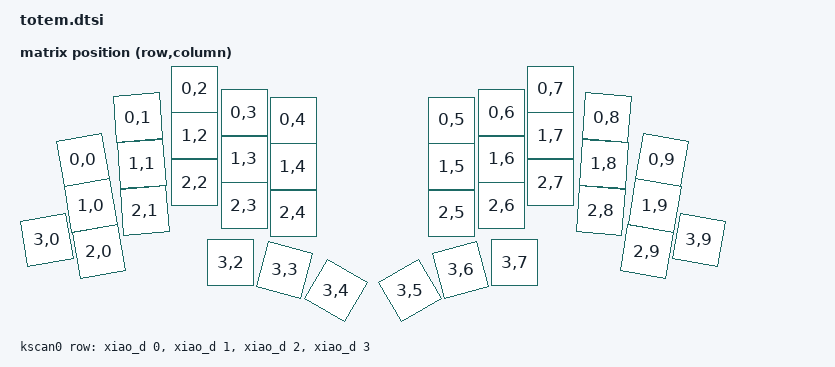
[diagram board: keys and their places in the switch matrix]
/*
 * Copyright (c) 2022 The ZMK Contributors
 *
 * SPDX-License-Identifier: MIT
 */

#include <dt-bindings/zmk/matrix_transform.h>
#include <physical_layouts.dtsi>

/ {
    chosen {
        zmk,kscan = &kscan0;
        zmk,physical-layout = &totem_physical_layout;
    };

    default_transform: keymap_transform_0 {
        compatible = "zmk,matrix-transform";
        columns = <10>;
        rows = <4>;
//             | SW01  | SW02  | SW03  | SW04  | SW05  |  | SW05  | SW04  | SW03  | SW02  | SW01  |
//             | SW06  | SW07  | SW08  | SW09  | SW10  |  | SW10  | SW09  | SW08  | SW07  | SW06  | 
//      | SW16 | SW11  | SW12  | SW13  | SW14  | SW15  |  | SW15  | SW14  | SW13  | SW12  | SW11  | SW16  |
//                             | SW17  | SW18  | SW19  |  | SW19  | SW18  | SW17  | 
        map = <
                RC(0,0) RC(0,1) RC(0,2) RC(0,3) RC(0,4)    RC(0,5) RC(0,6) RC(0,7) RC(0,8) RC(0,9)
                RC(1,0) RC(1,1) RC(1,2) RC(1,3) RC(1,4)    RC(1,5) RC(1,6) RC(1,7) RC(1,8) RC(1,9)
        RC(3,0) RC(2,0) RC(2,1) RC(2,2) RC(2,3) RC(2,4)    RC(2,5) RC(2,6) RC(2,7) RC(2,8) RC(2,9) RC(3,9)
                                RC(3,2) RC(3,3) RC(3,4)    RC(3,5) RC(3,6) RC(3,7)         
        >;
    };


    kscan0: kscan_0 {
        compatible = "zmk,kscan-gpio-matrix";
        label = "KSCAN";
        
        diode-direction = "col2row"; 
        row-gpios
            = <&xiao_d 0 (GPIO_ACTIVE_HIGH | GPIO_PULL_DOWN)>
            , <&xiao_d 1 (GPIO_ACTIVE_HIGH | GPIO_PULL_DOWN)>
            , <&xiao_d 2 (GPIO_ACTIVE_HIGH | GPIO_PULL_DOWN)>
            , <&xiao_d 3 (GPIO_ACTIVE_HIGH | GPIO_PULL_DOWN)>
            ;
    };

    totem_physical_layout: totem_physical_layout {
        compatible = "zmk,physical-layout";
        display-name = "TOTEM";
        transform = <&default_transform>;
        kscan = <&kscan0>;
        keys  //                     w   h    x    y     rot    rx    ry
            = <&key_physical_attrs 100 100   80  142 (-1000)  130  192>  // pos  0 RC(0,0)
            , <&key_physical_attrs 100 100  190   57 (-400)  240  107>  // pos  1 RC(0,1)
            , <&key_physical_attrs 100 100  303    0      0  353   50>  // pos  2 RC(0,2)
            , <&key_physical_attrs 100 100  402   47      0  452   97>  // pos  3 RC(0,3)
            , <&key_physical_attrs 100 100  500   62      0  550  112>  // pos  4 RC(0,4)
            , <&key_physical_attrs 100 100  817   62      0  867  112>  // pos  5 RC(0,5)
            , <&key_physical_attrs 100 100  917   47      0  967   97>  // pos  6 RC(0,6)
            , <&key_physical_attrs 100 100 1015    0      0 1065   50>  // pos  7 RC(0,7)
            , <&key_physical_attrs 100 100 1127   57    400 1177  107>  // pos  8 RC(0,8)
            , <&key_physical_attrs 100 100 1238  142   1000 1288  192>  // pos  9 RC(0,9)
            , <&key_physical_attrs 100 100   95  233 (-1000)  145  283>  // pos 10 RC(1,0)
            , <&key_physical_attrs 100 100  197  150 (-400)  247  200>  // pos 11 RC(1,1)
            , <&key_physical_attrs 100 100  303   93      0  353  143>  // pos 12 RC(1,2)
            , <&key_physical_attrs 100 100  402  140      0  452  190>  // pos 13 RC(1,3)
            , <&key_physical_attrs 100 100  500  155      0  550  205>  // pos 14 RC(1,4)
            , <&key_physical_attrs 100 100  817  155      0  867  205>  // pos 15 RC(1,5)
            , <&key_physical_attrs 100 100  917  140      0  967  190>  // pos 16 RC(1,6)
            , <&key_physical_attrs 100 100 1015   93      0 1065  143>  // pos 17 RC(1,7)
            , <&key_physical_attrs 100 100 1122  150    400 1172  200>  // pos 18 RC(1,8)
            , <&key_physical_attrs 100 100 1223  233   1000 1273  283>  // pos 19 RC(1,9)
            , <&key_physical_attrs 100 100    7  302 (-1000)   57  352>  // pos 20 RC(3,0)
            , <&key_physical_attrs 100 100  112  325 (-1000)  162  375>  // pos 21 RC(2,0)
            , <&key_physical_attrs 100 100  203  243 (-400)  253  293>  // pos 22 RC(2,1)
            , <&key_physical_attrs 100 100  303  187      0  353  237>  // pos 23 RC(2,2)
            , <&key_physical_attrs 100 100  402  233      0  452  283>  // pos 24 RC(2,3)
            , <&key_physical_attrs 100 100  500  248      0  550  298>  // pos 25 RC(2,4)
            , <&key_physical_attrs 100 100  817  248      0  867  298>  // pos 26 RC(2,5)
            , <&key_physical_attrs 100 100  917  233      0  967  283>  // pos 27 RC(2,6)
            , <&key_physical_attrs 100 100 1015  187      0 1065  237>  // pos 28 RC(2,7)
            , <&key_physical_attrs 100 100 1115  243    400 1165  293>  // pos 29 RC(2,8)
            , <&key_physical_attrs 100 100 1207  325   1000 1257  375>  // pos 30 RC(2,9)
            , <&key_physical_attrs 100 100 1312  302   1000 1362  352>  // pos 31 RC(3,9)
            , <&key_physical_attrs 100 100  375  347      0  425  397>  // pos 32 RC(3,2)
            , <&key_physical_attrs 100 100  483  362   1500  533  412>  // pos 33 RC(3,3)
            , <&key_physical_attrs 100 100  585  403   3000  635  453>  // pos 34 RC(3,4)
            , <&key_physical_attrs 100 100  733  403 (-3000)  783  453>  // pos 35 RC(3,5)
            , <&key_physical_attrs 100 100  835  362 (-1500)  885  412>  // pos 36 RC(3,6)
            , <&key_physical_attrs 100 100  943  347      0  993  397>  // pos 37 RC(3,7)
        ;
    };
};
